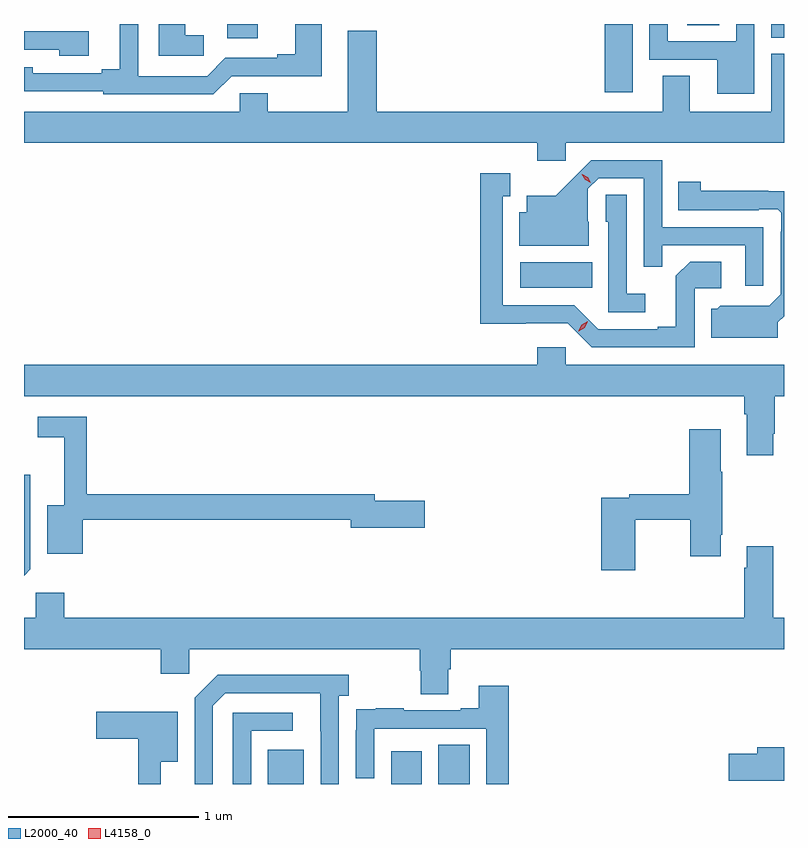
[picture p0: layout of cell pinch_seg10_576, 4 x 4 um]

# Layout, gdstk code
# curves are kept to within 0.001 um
import gdstk
lib = gdstk.Library(unit=1e-6, precision=1e-09)
def R(c, l, rs):  # rectangles x0, y0, x1, y1
    for r in rs: c.add(gdstk.rectangle(r[:2], r[2:], *l))
def P(c, l, *ps):  # polygons
    for p in ps: c.add(gdstk.Polygon(p, *l))
L2000_40 = (2000, 40)
L4158_0 = (4158, 0)

pinch_seg10_576 = lib.new_cell('pinch_seg10_576')
R(pinch_seg10_576, L2000_40, [(349.391,1278.294,349.579,1278.475), (350.039,1278.294,350.2,1278.466), (350.288,1278.294,350.452,1278.5), (350.718,1280.906,351.098,1281.04), (351.164,1281.936,351.31,1282.294), (349.178,1282.218,349.336,1282.294), (352.04,1282.222,352.107,1282.294), (351.599,1282.288,351.766,1282.294)])
P(pinch_seg10_576, L2000_40, [(349.2,1282.02),(349.675,1282.019),(349.675,1282.294),(349.535,1282.294),(349.535,1282.136),(349.439,1282.136),(349.439,1282.116),(349.167,1282.116),(349.071,1282.02),(348.708,1282.02),(348.708,1282.294),(348.611,1282.294),(348.611,1282.055),(348.515,1282.055),(348.515,1282.035),(348.153,1282.035),(348.153,1282.066),(348.107,1282.066),(348.107,1281.939),(348.525,1281.939),(348.525,1281.924),(349.104,1281.924)],
  [(351.951,1282.294),(351.855,1282.294),(351.855,1282.203),(351.495,1282.203),(351.495,1282.294),(351.399,1282.294),(351.399,1282.107),(351.755,1282.107),(351.755,1281.926),(351.951,1281.926)],
  [(349.054,1282.235),(348.955,1282.235),(348.955,1282.294),(348.815,1282.294),(348.815,1282.126),(349.054,1282.126)],
  [(350.958,1281.668),(352.107,1281.668),(352.107,1282.137),(352.04,1282.137),(352.04,1281.832),(351.61,1281.832),(351.61,1282.022),(351.47,1282.022),(351.47,1281.832),(349.964,1281.832),(349.964,1282.258),(349.811,1282.258),(349.811,1281.832),(349.389,1281.832),(349.389,1281.93),(349.242,1281.93),(349.242,1281.832),(348.107,1281.832),(348.107,1281.668),(350.807,1281.668),(350.807,1281.573),(350.958,1281.573)],
  [(348.448,1282.255),(348.107,1282.255),(348.107,1282.158),(348.292,1282.158),(348.292,1282.127),(348.448,1282.127)],
  [(351.999,1281.225),(351.465,1281.225),(351.465,1281.576),(351.092,1281.576),(350.905,1281.391),(350.753,1281.391),(350.753,1281.304),(350.714,1281.304),(350.714,1281.128),(351.079,1281.128),(351.079,1281.252),(351.075,1281.252),(351.075,1281.426),(351.132,1281.483),(351.369,1281.483),(351.369,1281.016),(351.467,1281.016),(351.467,1281.129),(351.903,1281.129),(351.903,1280.916),(351.999,1280.916)],
  [(351.636,1280.904),(351.778,1280.904),(351.778,1281.044),(351.613,1281.044),(351.537,1280.968),(351.537,1280.701),(351.443,1280.701),(351.443,1280.688),(351.129,1280.688),(351.003,1280.814),(350.626,1280.814),(350.626,1281.387),(350.665,1281.387),(350.665,1281.508),(350.508,1281.508),(350.508,1280.717),(350.97,1280.718),(351.096,1280.592),(351.636,1280.592)],
  [(352.075,1280.724),(352.107,1280.756),(352.107,1281.415),(351.669,1281.416),(351.669,1281.463),(351.55,1281.463),(351.55,1281.315),(351.974,1281.315),(351.974,1281.318),(352.074,1281.318),(352.092,1281.3),(352.092,1281.2),(352.089,1281.2),(352.089,1280.871),(352.029,1280.811),(351.772,1280.812),(351.756,1280.796),(351.725,1280.796),(351.725,1280.642),(352.075,1280.642)],
  [(351.376,1280.875),(351.279,1280.875),(351.279,1281.395),(351.168,1281.395),(351.168,1281.252),(351.183,1281.252),(351.183,1280.778),(351.376,1280.778)],
  [(352.051,1280.137),(352.059,1280.137),(352.059,1280.336),(352.107,1280.336),(352.107,1280.5),(350.958,1280.5),(350.958,1280.593),(350.807,1280.593),(350.807,1280.5),(348.107,1280.5),(348.107,1280.336),(351.899,1280.336),(351.899,1280.24),(351.911,1280.24),(351.911,1280.025),(352.051,1280.025)],
  [(348.417,1279.684),(349.826,1279.684),(349.826,1279.642),(350.215,1279.642),(350.215,1279.784),(349.954,1279.784),(349.954,1279.82),(348.437,1279.82),(348.437,1280.226),(348.18,1280.226),(348.18,1280.118),(348.32,1280.118),(348.32,1279.762),(348.23,1279.762),(348.23,1279.505),(348.417,1279.505)],
  [(351.324,1279.684),(351.613,1279.684),(351.613,1279.494),(351.775,1279.494),(351.775,1279.606),(351.783,1279.606),(351.783,1279.937),(351.775,1279.937),(351.775,1280.161),(351.608,1280.161),(351.608,1279.82),(351.292,1279.82),(351.292,1279.8),(351.146,1279.8),(351.146,1279.419),(351.324,1279.419)],
  [(348.141,1279.425),(348.141,1279.921),(348.107,1279.921),(348.107,1279.391)],
  [(350.341,1278.898),(350.354,1278.898),(350.354,1279.004),(352.107,1279.004),(352.107,1279.168),(352.051,1279.168),(352.051,1279.546),(351.911,1279.546),(351.911,1279.433),(351.899,1279.433),(351.899,1279.168),(348.32,1279.168),(348.32,1279.3),(348.168,1279.3),(348.168,1279.168),(348.107,1279.168),(348.107,1279.004),(348.827,1279.004),(348.827,1278.873),(348.978,1278.873),(348.978,1279.004),(350.189,1279.004),(350.189,1278.891),(350.194,1278.891),(350.194,1278.766),(350.341,1278.766)],
  [(349.101,1278.705),(349.167,1278.771),(349.667,1278.771),(349.668,1278.294),(349.764,1278.294),(349.764,1278.758),(349.816,1278.758),(349.816,1278.868),(349.126,1278.868),(349.005,1278.747),(349.005,1278.294),(349.101,1278.294)],
  [(350.657,1278.811),(350.501,1278.811),(350.501,1278.694),(350.405,1278.694),(350.405,1278.681),(350.105,1278.681),(350.105,1278.694),(349.957,1278.694),(349.957,1278.687),(349.855,1278.687),(349.855,1278.578),(349.854,1278.578),(349.854,1278.324),(349.95,1278.324),(349.95,1278.585),(350.541,1278.585),(350.541,1278.294),(350.657,1278.294)],
  [(348.827,1278.41),(348.916,1278.41),(348.916,1278.675),(348.486,1278.675),(348.486,1278.533),(348.709,1278.533),(348.709,1278.294),(348.827,1278.294)],
  [(349.302,1278.573),(349.522,1278.573),(349.522,1278.669),(349.206,1278.669),(349.206,1278.294),(349.302,1278.294)],
  [(352.107,1278.488),(351.965,1278.488),(351.965,1278.452),(351.816,1278.452),(351.816,1278.31),(352.107,1278.31)])
P(pinch_seg10_576, L4158_0, [(351.091,1281.459),(351.06,1281.474),(351.043,1281.504),(351.043,1281.504),(351.044,1281.504),(351.074,1281.488),(351.091,1281.459),(351.091,1281.459)],
  [(351.025,1280.677),(351.025,1280.677),(351.043,1280.71),(351.075,1280.729),(351.075,1280.729),(351.075,1280.728),(351.057,1280.696),(351.026,1280.677)])

lib.write_gds('pinch_seg10_576.gds')
